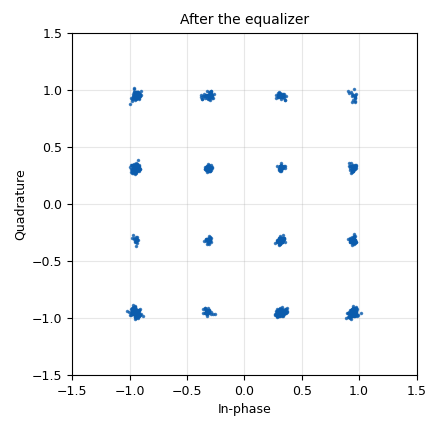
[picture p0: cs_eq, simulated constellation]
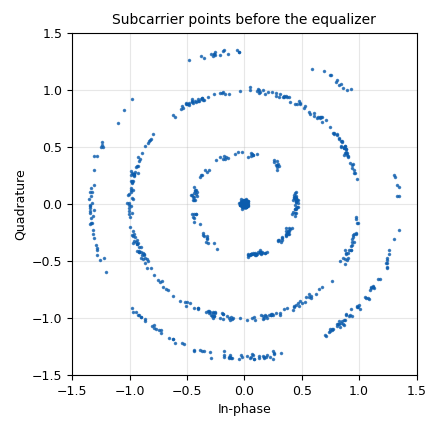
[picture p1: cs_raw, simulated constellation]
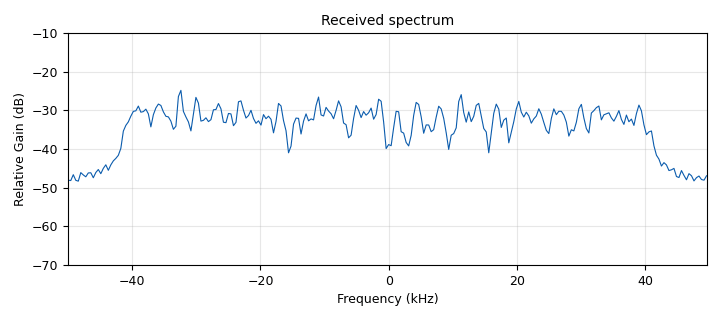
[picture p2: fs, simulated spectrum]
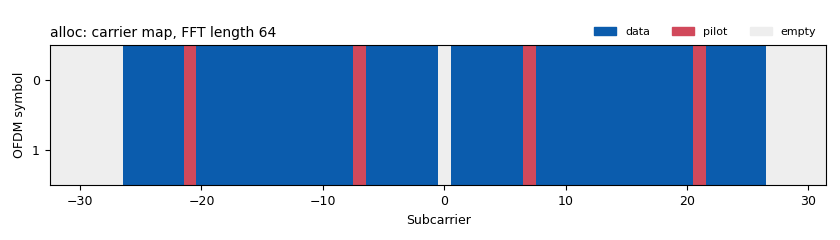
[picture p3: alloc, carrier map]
options:
  parameters:
    author: ECE 448
    description: 'L20: a line of text sent as OFDM packets with the blocks of the GNU Radio examples tx_ofdm.grc and rx_ofdm.grc: 64-point FFT, a 16-sample cyclic prefix, 48 data subcarriers and 4 pilots, a BPSK header, and a 16-QAM payload. The channel has the four multipath taps of L15-psk-multipath.grc, an echo whose delay and level are sliders, and noise. Watch the spectrum, the subcarrier points before and after the equalizer, and the received text. No hardware needed.'
    generate_options: qt_gui
    id: L20_ofdm_link
    output_language: python
    title: L20 - Text over OFDM
  states: {}

blocks:
- name: cp_len
  id: variable
  parameters:
    value: fft_len//4
  states: {}
- name: echo_delay
  id: variable_qtgui_range
  parameters:
    gui_hint: 1,0,1,2
    label: Echo delay (samples)
    min_len: '120'
    rangeType: int
    start: '1'
    step: '1'
    stop: '40'
    value: '8'
  states: {}
- name: echo_level
  id: variable_qtgui_range
  parameters:
    gui_hint: 1,2,1,1
    label: Echo level
    min_len: '120'
    start: '0'
    step: '0.05'
    stop: '0.9'
    value: '0'
  states: {}
- name: fft_len
  id: variable
  parameters:
    value: '64'
  states: {}
- name: frame_len_key
  id: variable
  parameters:
    value: '"frame_len"'
  states: {}
- name: hdr_rx
  id: variable
  parameters:
    value: digital.packet_header_ofdm(occupied_carriers, n_syms=1, len_tag_key=packet_len_key, frame_len_tag_key=frame_len_key, bits_per_header_sym=header_mod.bits_per_symbol(), bits_per_payload_sym=payload_mod.bits_per_symbol(), scramble_header=False)
  states: {}
- name: hdr_tx
  id: variable
  parameters:
    value: digital.packet_header_ofdm(occupied_carriers, n_syms=1, len_tag_key=packet_len_key, frame_len_tag_key=packet_len_key, bits_per_header_sym=header_mod.bits_per_symbol(), bits_per_payload_sym=payload_mod.bits_per_symbol(), scramble_header=False)
  states: {}
- name: header_equalizer
  id: variable
  parameters:
    value: digital.ofdm_equalizer_simpledfe(fft_len, header_mod.base(), occupied_carriers, pilot_carriers, pilot_symbols)
  states: {}
- name: header_mod
  id: variable
  parameters:
    value: digital.constellation_bpsk()
  states: {}
- name: msg
  id: variable
  parameters:
    value: '"USAFA ECE 448: text over OFDM"'
  states: {}
- name: noise
  id: variable_qtgui_range
  parameters:
    gui_hint: 1,3,1,1
    label: Noise amplitude
    min_len: '120'
    start: '0'
    step: '0.01'
    stop: '1'
    value: '0.02'
  states: {}
- name: occupied_carriers
  id: variable
  parameters:
    value: (list(range(-26, -21)) + list(range(-20, -7)) + list(range(-6, 0)) + list(range(1, 7)) + list(range(8, 21)) + list(range(22, 27)),)
  states: {}
- name: packet_len_key
  id: variable
  parameters:
    value: '"packet_len"'
  states: {}
- name: payload_equalizer
  id: variable
  parameters:
    value: digital.ofdm_equalizer_static(fft_len, occupied_carriers, pilot_carriers, pilot_symbols, 1)
  states: {}
- name: payload_mod
  id: variable
  parameters:
    value: digital.constellation_16qam()
  states: {}
- name: pilot_carriers
  id: variable
  parameters:
    value: ((-21, -7, 7, 21,),)
  states: {}
- name: pilot_symbols
  id: variable
  parameters:
    value: ((1, 1, 1, -1,),)
  states: {}
- name: rx_label
  id: variable_qtgui_label
  parameters:
    formatter: 'lambda x: '':  '' + x'
    gui_hint: 10,0,1,4
    label: Received
    type: string
    value: rx_text
  states: {}
- name: rx_stats
  id: variable_function_probe
  parameters:
    block_id: epy_block_0
    function_name: stats
    poll_rate: '2'
    value: ''''''
  states: {}
- name: rx_text
  id: variable_function_probe
  parameters:
    block_id: epy_block_0
    function_name: last_line
    poll_rate: '4'
    value: '''(waiting for a packet)'''
  states: {}
- name: samp_rate
  id: variable
  parameters:
    value: '100000'
  states: {}
- name: stats_label
  id: variable_qtgui_label
  parameters:
    formatter: 'lambda x: '':  '' + x'
    gui_hint: 11,0,1,4
    label: Lines
    type: string
    value: rx_stats
  states: {}
- name: sync_word1
  id: variable
  parameters:
    value: '[0., 0., 0., 0., 0., 0., 0., 1.41421356, 0., -1.41421356, 0., 1.41421356, 0., -1.41421356, 0., -1.41421356, 0., -1.41421356, 0., 1.41421356, 0., -1.41421356, 0., 1.41421356, 0., -1.41421356, 0., -1.41421356, 0., -1.41421356, 0., -1.41421356, 0., 1.41421356, 0., -1.41421356, 0., 1.41421356, 0., 1.41421356, 0., 1.41421356, 0., -1.41421356, 0., 1.41421356, 0., 1.41421356, 0., 1.41421356, 0., -1.41421356, 0., 1.41421356, 0., 1.41421356, 0., 1.41421356, 0., 0., 0., 0., 0., 0.]'
  states: {}
- name: sync_word2
  id: variable
  parameters:
    value: '[0, 0, 0, 0, 0, 0, -1, -1, -1, -1, 1, 1, -1, -1, -1, 1, -1, 1, 1, 1, 1, 1, -1, -1, -1, -1, -1, 1, -1, -1, 1, -1, 0, 1, -1, 1, 1, 1, -1, 1, 1, 1, -1, 1, 1, 1, 1, -1, 1, -1, -1, -1, 1, -1, 1, -1, -1, -1, -1, 0, 0, 0, 0, 0]'
  states: {}
- name: tap1
  id: variable_qtgui_range
  parameters:
    gui_hint: 0,0,1,1
    label: Tap 1
    min_len: '120'
    start: '0'
    step: '0.05'
    stop: '1'
    value: '1.0'
  states: {}
- name: tap2
  id: variable_qtgui_range
  parameters:
    gui_hint: 0,1,1,1
    label: Tap 2
    min_len: '120'
    start: '0'
    step: '0.05'
    stop: '1'
    value: '1.0'
  states: {}
- name: tap3
  id: variable_qtgui_range
  parameters:
    gui_hint: 0,2,1,1
    label: Tap 3
    min_len: '120'
    start: '0'
    step: '0.05'
    stop: '1'
    value: '1.0'
  states: {}
- name: tap4
  id: variable_qtgui_range
  parameters:
    gui_hint: 0,3,1,1
    label: Tap 4
    min_len: '120'
    start: '0'
    step: '0.05'
    stop: '1'
    value: '1.0'
  states: {}
- name: taps
  id: variable
  parameters:
    value: list(convolve(ifftshift(ifft([tap3, tap4, 1.0, tap1, tap2])), [1.0] + [0.0]*(echo_delay - 1) + [echo_level]))
  states: {}
- name: tx_scale
  id: variable
  parameters:
    value: 1/sqrt(len(occupied_carriers[0]) + len(pilot_carriers[0]))
  states: {}
- name: alloc
  id: digital_ofdm_carrier_allocator_cvc
  parameters:
    fft_len: fft_len
    len_tag_key: packet_len_key
    occupied_carriers: occupied_carriers
    output_is_shifted: 'True'
    pilot_carriers: pilot_carriers
    pilot_symbols: pilot_symbols
    sync_words: (sync_word1, sync_word2)
  states: {}
- name: c2s_hdr
  id: digital_chunks_to_symbols_xx
  parameters:
    dimension: '1'
    in_type: byte
    out_type: complex
    symbol_table: header_mod.points()
  states: {}
- name: c2s_pay
  id: digital_chunks_to_symbols_xx
  parameters:
    dimension: '1'
    in_type: byte
    out_type: complex
    symbol_table: payload_mod.points()
  states: {}
- name: ch
  id: channels_channel_model
  parameters:
    epsilon: '1.0'
    freq_offset: '0'
    noise_voltage: noise
    seed: '0'
    taps: taps
  states: {}
- name: chanest
  id: digital_ofdm_chanest_vcvc
  parameters:
    force_one_symbol: 'False'
    max_carr_offset: '3'
    n_data_symbols: '1'
    sync_symbol1: sync_word1
    sync_symbol2: sync_word2
  states: {}
- name: cp
  id: digital_ofdm_cyclic_prefixer
  parameters:
    cp_len: cp_len
    input_size: fft_len
    tagname: packet_len_key
  states: {}
- name: cs_eq
  id: qtgui_const_sink_x
  parameters:
    grid: 'True'
    gui_hint: 2,3,8,1
    legend: 'False'
    name: '"After the equalizer"'
    size: '1024'
    type: complex
    update_time: '0.1'
    xmax: '1.5'
    xmin: '-1.5'
    ymax: '1.5'
    ymin: '-1.5'
  states: {}
- name: cs_raw
  id: qtgui_const_sink_x
  parameters:
    grid: 'True'
    gui_hint: 2,2,8,1
    legend: 'False'
    name: '"Subcarrier points before the equalizer"'
    size: '1024'
    type: complex
    update_time: '0.1'
    xmax: '1.5'
    xmin: '-1.5'
    ymax: '1.5'
    ymin: '-1.5'
  states: {}
- name: dec_h
  id: digital_constellation_decoder_cb
  parameters:
    constellation: header_mod.base()
  states: {}
- name: dec_p
  id: digital_constellation_decoder_cb
  parameters:
    constellation: payload_mod.base()
  states: {}
- name: dly_rx
  id: blocks_delay
  parameters:
    delay: fft_len + cp_len
    type: complex
  states: {}
- name: epy_block_0
  id: epy_block
  parameters:
    _source_code: |
      """Text Sink: shows each received packet as a line of text and counts the
      lines that match the transmitted message. The counts restart whenever a slider moves,
      because GRC sets `settings` each time one of the settings it names changes.
      Function Probes read last_line() and stats() for the QT GUI Labels."""

      import time

      import numpy as np
      import pmt
      from gnuradio import gr


      class blk(gr.sync_block):
          def __init__(self, expected='', settings=None):
              gr.sync_block.__init__(self, name='Text Sink', in_sig=[np.uint8], out_sig=None)
              self.expected = expected
              self.key = pmt.intern('packet_len')
              self.buf = []
              self.line = '(waiting for a packet)'
              self.settings = settings

          @property
          def settings(self):
              return self._settings

          @settings.setter
          def settings(self, value):
              self._settings = value
              self.good = 0
              self.total = 0
              self.t0 = time.monotonic()

          def work(self, input_items, output_items):
              data = input_items[0]
              start = self.nitems_read(0)
              # Each packet starts with a packet_len tag, so a corrupted newline
              # cannot run two packets together.
              marks = {t.offset - start for t in self.get_tags_in_window(0, 0, len(data), self.key)}
              for i, b in enumerate(data):
                  if i in marks and self.buf:
                      self.finish()
                  self.buf.append(int(b))
              return len(data)

          def finish(self):
              rx = np.array(self.buf, dtype=np.uint8)
              text = ''.join(chr(b) if 32 <= b < 127 or b == 10 else '?' for b in rx)
              self.line = text[:-1] if text.endswith('\n') else text
              self.total += 1
              self.good += text == self.expected + '\n'
              self.buf = []

          def last_line(self):
              return self.line

          def stats(self):
              return f'{self.good} correct of {self.total} received in {time.monotonic() - self.t0:.0f} s'
    expected: msg
    settings: (tap1, tap2, tap3, tap4, echo_delay, echo_level, noise)
  states: {}
- name: eq_h
  id: digital_ofdm_frame_equalizer_vcvc
  parameters:
    cp_len: cp_len
    equalizer: header_equalizer.base()
    fft_len: fft_len
    fixed_frame_len: '1'
    len_tag_key: frame_len_key
    propagate_channel_state: 'True'
  states: {}
- name: eq_p
  id: digital_ofdm_frame_equalizer_vcvc
  parameters:
    cp_len: cp_len
    equalizer: payload_equalizer.base()
    fft_len: fft_len
    len_tag_key: frame_len_key
    propagate_channel_state: 'True'
  states: {}
- name: fft_h
  id: fft_vxx
  parameters:
    fft_size: fft_len
    forward: 'True'
    shift: 'True'
    type: complex
    window: ()
  states: {}
- name: fft_p
  id: fft_vxx
  parameters:
    fft_size: fft_len
    forward: 'True'
    shift: 'True'
    type: complex
    window: ()
  states: {}
- name: fft_tx
  id: fft_vxx
  parameters:
    fft_size: fft_len
    forward: 'False'
    shift: 'True'
    type: complex
    window: ()
  states: {}
- name: fm
  id: analog_frequency_modulator_fc
  parameters:
    sensitivity: '-2.0/fft_len'
  states: {}
- name: fs
  id: qtgui_freq_sink_x
  parameters:
    average: '0.1'
    bw: samp_rate
    fc: '0'
    fftsize: '256'
    grid: 'True'
    gui_hint: 2,0,8,2
    legend: 'False'
    name: '"Received spectrum"'
    type: complex
    update_time: '0.1'
    ymax: '-10'
    ymin: '-70'
  states: {}
- name: gate
  id: blocks_tag_gate
  parameters:
    propagate_tags: 'False'
    type: complex
  states: {}
- name: hdrgen
  id: digital_packet_headergenerator_bb
  parameters:
    header_formatter: hdr_tx.base()
    len_tag_key: packet_len_key
  states: {}
- name: hpd
  id: digital_header_payload_demux
  parameters:
    guard_interval: cp_len
    header_len: '3'
    header_padding: '0'
    items_per_symbol: fft_len
    length_tag_key: frame_len_key
    output_symbols: 'True'
    samp_rate: samp_rate
    special_tags: ()
    timing_tag_key: '"rx_time"'
    type: complex
  states: {}
- name: import_0
  id: import
  parameters:
    imports: |-
      from numpy import convolve
      from numpy.fft import ifft, ifftshift
      from math import sqrt
  states: {}
- name: mix
  id: blocks_multiply_xx
  parameters:
    type: complex
  states: {}
- name: mux
  id: blocks_tagged_stream_mux
  parameters:
    lengthtagname: packet_len_key
    ninputs: '2'
    type: complex
  states: {}
- name: parse
  id: digital_packet_headerparser_b
  parameters:
    header_formatter: hdr_rx.base()
  states: {}
- name: raw_scale
  id: blocks_multiply_const_vxx
  parameters:
    const: 1/(fft_len*tx_scale)
    type: complex
  states: {}
- name: repack_rx
  id: blocks_repack_bits_bb
  parameters:
    align_output: 'True'
    endianness: gr.GR_LSB_FIRST
    k: payload_mod.bits_per_symbol()
    l: '8'
    len_tag_key: packet_len_key
  states: {}
- name: repack_tx
  id: blocks_repack_bits_bb
  parameters:
    endianness: gr.GR_LSB_FIRST
    k: '8'
    l: payload_mod.bits_per_symbol()
    len_tag_key: packet_len_key
  states: {}
- name: s2ts
  id: blocks_stream_to_tagged_stream
  parameters:
    len_tag_key: packet_len_key
    packet_len: len(msg) + 1
    type: byte
  states: {}
- name: scale
  id: blocks_multiply_const_vxx
  parameters:
    const: tx_scale
    type: complex
  states: {}
- name: scr_rx
  id: digital_additive_scrambler_bb
  parameters:
    bits_per_byte: '8'
    count: '0'
    len: '7'
    mask: '0x8a'
    reset_tag_key: packet_len_key
    seed: '0x7F'
  states: {}
- name: scr_tx
  id: digital_additive_scrambler_bb
  parameters:
    bits_per_byte: '8'
    count: '0'
    len: '7'
    mask: '0x8a'
    reset_tag_key: packet_len_key
    seed: '0x7F'
  states: {}
- name: ser_h
  id: digital_ofdm_serializer_vcc
  parameters:
    fft_len: fft_len
    len_tag_key: frame_len_key
    occupied_carriers: occupied_carriers
  states: {}
- name: ser_p
  id: digital_ofdm_serializer_vcc
  parameters:
    fft_len: fft_len
    len_tag_key: frame_len_key
    occupied_carriers: occupied_carriers
    packet_len_tag_key: packet_len_key
    symbols_skipped: '1'
  states: {}
- name: ser_raw
  id: digital_ofdm_serializer_vcc
  parameters:
    fft_len: fft_len
    len_tag_key: frame_len_key
    occupied_carriers: occupied_carriers
    symbols_skipped: '1'
  states: {}
- name: src
  id: blocks_vector_source_x
  parameters:
    repeat: 'True'
    tags: ()
    type: byte
    vector: list((msg + '\n').encode())
  states: {}
- name: sync
  id: digital_ofdm_sync_sc_cfb
  parameters:
    cp_len: cp_len
    fft_len: fft_len
    threshold: '0.9'
  states: {}
- name: thr
  id: blocks_throttle2
  parameters:
    samples_per_second: samp_rate
    type: complex
  states: {}

connections:
- [alloc, '0', fft_tx, '0']
- [c2s_hdr, '0', mux, '0']
- [c2s_pay, '0', mux, '1']
- [ch, '0', thr, '0']
- [chanest, '0', eq_h, '0']
- [cp, '0', scale, '0']
- [dec_h, '0', parse, '0']
- [dec_p, '0', repack_rx, '0']
- [dly_rx, '0', mix, '1']
- [eq_h, '0', ser_h, '0']
- [eq_p, '0', ser_p, '0']
- [fft_h, '0', chanest, '0']
- [fft_p, '0', eq_p, '0']
- [fft_p, '0', ser_raw, '0']
- [fft_tx, '0', cp, '0']
- [fm, '0', mix, '0']
- [gate, '0', ch, '0']
- [hdrgen, '0', c2s_hdr, '0']
- [hpd, '0', fft_h, '0']
- [hpd, '1', fft_p, '0']
- [mix, '0', hpd, '0']
- [mux, '0', alloc, '0']
- [parse, header_data, hpd, header_data]
- [raw_scale, '0', cs_raw, '0']
- [repack_rx, '0', scr_rx, '0']
- [repack_tx, '0', c2s_pay, '0']
- [s2ts, '0', hdrgen, '0']
- [s2ts, '0', scr_tx, '0']
- [scale, '0', gate, '0']
- [scr_rx, '0', epy_block_0, '0']
- [scr_tx, '0', repack_tx, '0']
- [ser_h, '0', dec_h, '0']
- [ser_p, '0', cs_eq, '0']
- [ser_p, '0', dec_p, '0']
- [ser_raw, '0', raw_scale, '0']
- [src, '0', s2ts, '0']
- [sync, '0', fm, '0']
- [sync, '1', hpd, '1']
- [thr, '0', dly_rx, '0']
- [thr, '0', fs, '0']
- [thr, '0', sync, '0']

metadata:
  file_format: 1
  grc_version: 3.10.9.2
